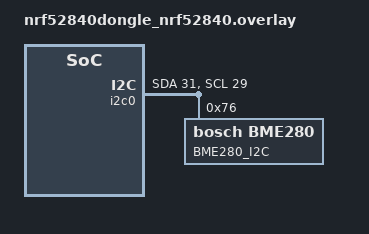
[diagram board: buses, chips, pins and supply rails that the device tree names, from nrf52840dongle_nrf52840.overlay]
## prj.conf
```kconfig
# Enable Bluetooth peripheral
CONFIG_BT=y
CONFIG_BT_PERIPHERAL=y

# Enable Bluetooth Security Manager Protocol
CONFIG_BT_SMP=y

# GAP attributes
CONFIG_BT_DEVICE_NAME="BME280 sensor"
CONFIG_BT_DEVICE_APPEARANCE=1344

# Use Settings API for BLE bonding
CONFIG_BT_SETTINGS=y
CONFIG_SETTINGS=y
CONFIG_SYSTEM_WORKQUEUE_STACK_SIZE=2048
CONFIG_FLASH=y
CONFIG_FLASH_PAGE_LAYOUT=y
CONFIG_FLASH_MAP=y
CONFIG_FCB=y

# Enable BME280 sensor
CONFIG_I2C=y
CONFIG_SENSOR=y
CONFIG_BME280=y
```

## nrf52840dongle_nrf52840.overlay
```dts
/*
 * Copyright (c) 2021 Koen Vervloesem <koen@vervloesem.eu>
 *
 * SPDX-License-Identifier: MIT
 */

/*
 * Configuration of a BME280 device on an I2C bus.
 *
 * Device address 0x76 is assumed. Your device may have a different
 * address; check your device documentation if unsure.
 */
&i2c0 {
    status = "okay";
    sda-pin = <31>;
    scl-pin = <29>;
    bme280@76 {
        compatible = "bosch,bme280";
        reg = <0x76>;
        label = "BME280_I2C";
    };
};
```

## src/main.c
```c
/*
 * Indications for BME280 sensor data in a custom BLE service,
 * using Security Mode 1 Level 2.
 *
 * Copyright (c) 2021 Koen Vervloesem
 *
 * SPDX-License-Identifier: MIT
 */

#include <errno.h>
#include <stddef.h>
#include <string.h>
#include <zephyr/sys/byteorder.h>
#include <zephyr/sys/printk.h>
#include <zephyr/kernel.h>
#include <zephyr/types.h>

#include <zephyr/settings/settings.h>

#include <zephyr/bluetooth/bluetooth.h>
#include <zephyr/bluetooth/conn.h>
#include <zephyr/bluetooth/gatt.h>
#include <zephyr/bluetooth/hci.h>
#include <zephyr/bluetooth/uuid.h>

#include "bme280.h"

// Define BLE service 63bf0b19-2b9c-473c-9e0a-2cfcaf03a770
#define BT_UUID_CUSTOM_SERVICE_VAL                                   \
  BT_UUID_128_ENCODE(0x63bf0b19, 0x2b9c, 0x473c, 0x9e0a,             \
                     0x2cfcaf03a770)

static struct bt_uuid_128 service_uuid =
    BT_UUID_INIT_128(BT_UUID_CUSTOM_SERVICE_VAL);

// Define BLE characteristic 63bf0b19-2b9c-473c-9e0a-2cfcaf03a771
static struct bt_uuid_128 char_uuid =
    BT_UUID_INIT_128(BT_UUID_128_ENCODE(0x63bf0b19, 0x2b9c, 0x473c,
                                        0x9e0a, 0x2cfcaf03a771));

// Initialize characteristic value (temperature, pressure, humidity)
static uint8_t char_value[6] = {0, 0, 0, 0, 0, 0};

const struct device *bme280 = NULL;

// Update data with BME280 sensor measurement
// Returns 1 if at least one sensor measurement changed compared to
// the previously stored value.
uint8_t update_data_bme280(const struct device *dev) {
  int16_t temperature;
  uint16_t pressure, humidity;
  uint8_t changed = 0;

  bme280_fetch_sample(dev);

  temperature = bme280_get_temperature(dev);
  if (memcmp(&(char_value[0]), &temperature, 2)) {
    memcpy(&(char_value[0]), &temperature, 2);
    changed = 1;
  }

  pressure = bme280_get_pressure(dev);
  if (memcmp(&(char_value[2]), &pressure, 2)) {
    memcpy(&(char_value[2]), &pressure, 2);
    changed = 1;
  }

  humidity = bme280_get_humidity(dev);
  if (memcmp(&(char_value[4]), &humidity, 2)) {
    memcpy(&(char_value[4]), &humidity, 2);
    changed = 1;
  }

  return changed;
}

// Callback function for reading characteristic
static ssize_t read_characteristic(struct bt_conn *conn,
                                   const struct bt_gatt_attr *attr,
                                   void *buf, uint16_t len,
                                   uint16_t offset) {
  update_data_bme280(bme280);
  const char *value = attr->user_data;

  return bt_gatt_attr_read(conn, attr, buf, len, offset, value,
                           sizeof(char_value));
}

static uint8_t indicate;
static uint8_t indicating;
static struct bt_gatt_indicate_params ind_params;

static void ccc_cfg_changed(const struct bt_gatt_attr *attr,
                            uint16_t value) {
  indicate = (value == BT_GATT_CCC_INDICATE) ? 1 : 0;
}

// Primary Service Declaration
BT_GATT_SERVICE_DEFINE(
    service, BT_GATT_PRIMARY_SERVICE(&service_uuid),
    BT_GATT_CHARACTERISTIC(&char_uuid.uuid,
                           BT_GATT_CHRC_READ | BT_GATT_CHRC_INDICATE,
                           BT_GATT_PERM_READ_ENCRYPT,
                           read_characteristic, NULL, char_value),
    BT_GATT_CCC(ccc_cfg_changed, BT_GATT_PERM_READ_ENCRYPT |
                                     BT_GATT_PERM_WRITE_ENCRYPT), );

// Advertising data
static const struct bt_data ad[] = {
    BT_DATA_BYTES(BT_DATA_FLAGS,
                  (BT_LE_AD_GENERAL | BT_LE_AD_NO_BREDR)),
    BT_DATA_BYTES(BT_DATA_UUID128_ALL, BT_UUID_CUSTOM_SERVICE_VAL),
};

// Indicate callbacks
static void indicate_cb(struct bt_conn *conn,
                        struct bt_gatt_indicate_params *params,
                        uint8_t err) {
  printk("Indication %s\n", err != 0U ? "fail" : "success");
}

static void indicate_destroy(struct bt_gatt_indicate_params *params) {
  printk("Indication complete\n");
  indicating = 0U;
}

// GATT callbacks
void mtu_updated(struct bt_conn *conn, uint16_t tx, uint16_t rx) {
  printk("Updated MTU: TX: %d RX: %d bytes\n", tx, rx);
}

static struct bt_gatt_cb gatt_callbacks = {.att_mtu_updated =
                                               mtu_updated};

// Connection callbacks
static void connected(struct bt_conn *conn, uint8_t err) {
  char addr[BT_ADDR_LE_STR_LEN];

  bt_addr_le_to_str(bt_conn_get_dst(conn), addr, sizeof(addr));

  if (err) {
    printk("Failed to connect to %s (%u)\n", addr, err);
    return;
  }

  printk("Connected %s\n", addr);

  if (bt_conn_set_security(conn, BT_SECURITY_L2)) {
    printk("Failed to set security\n");
  }
}

static void disconnected(struct bt_conn *conn, uint8_t reason) {
  char addr[BT_ADDR_LE_STR_LEN];

  bt_addr_le_to_str(bt_conn_get_dst(conn), addr, sizeof(addr));

  printk("Disconnected from %s (reason 0x%02x)\n", addr, reason);
}

static void security_changed(struct bt_conn *conn,
                             bt_security_t level,
                             enum bt_security_err err) {
  char addr[BT_ADDR_LE_STR_LEN];

  bt_addr_le_to_str(bt_conn_get_dst(conn), addr, sizeof(addr));

  if (!err) {
    printk("Security changed: %s level %u\n", addr, level);
  } else {
    printk("Security failed: %s level %u err %d\n", addr, level, err);
  }
}

static struct bt_conn_cb conn_callbacks = {
    .connected = connected,
    .disconnected = disconnected,
    .security_changed = security_changed,
};

// Bluetooth initialization
static void bt_ready(void) {
  int err;

  printk("Bluetooth initialized\n");

  if (IS_ENABLED(CONFIG_SETTINGS)) {
    settings_load();
  }

  err = bt_le_adv_start(BT_LE_ADV_CONN_NAME, ad, ARRAY_SIZE(ad), NULL,
                        0);
  if (err) {
    printk("Advertising failed to start (err %d)\n", err);
    return;
  }

  printk("Advertising successfully started\n");
}

void main(void) {
  int err;

  printk("Starting firmware...\n");

  // Initialize BME280
  bme280 = bme280_get_device();

  if (bme280 == NULL) {
    return;
  }

  // Initialize the Bluetooth subsystem
  err = bt_enable(NULL);
  if (err) {
    printk("Bluetooth init failed (err %d)\n", err);
    return;
  }

  bt_ready();

  // Clear all bonds for debugging purposes
  // bt_unpair(BT_ID_DEFAULT, BT_ADDR_LE_ANY);

  // Register GATT and connection callbacks
  bt_gatt_cb_register(&gatt_callbacks);
  bt_conn_cb_register(&conn_callbacks);

  // Implement indications every second
  while (1) {
    k_sleep(K_SECONDS(1));

    if (indicate) {
      if (indicating) {
        continue;
      }

      if (update_data_bme280(bme280)) {
        ind_params.attr = &service.attrs[2];
        ind_params.func = indicate_cb;
        ind_params.destroy = indicate_destroy;
        ind_params.data = char_value;
        ind_params.len = sizeof(char_value);

        if (bt_gatt_indicate(NULL, &ind_params) == 0) {
          indicating = 1U;
        }
      }
    }
  }
}
```

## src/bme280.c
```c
/*
 * Read BME280 sensor data
 *
 * Copyright (c) 2021 Koen Vervloesem
 *
 * SPDX-License-Identifier: MIT
 */

#include <device.h>
#include <devicetree.h>
#include <drivers/sensor.h>
#include <sys/printk.h>
#include <zephyr/types.h>

/*
 * Get a device structure from a devicetree node with compatible
 * "bosch,bme280". (If there are multiple, just pick one.)
 */
const struct device *bme280_get_device(void) {
  const struct device *dev = DEVICE_DT_GET_ANY(bosch_bme280);

  if (dev == NULL) {
    /* No such node, or the node does not have status "okay". */
    printk("\nError: no device found.\n");
    return NULL;
  }

  if (!device_is_ready(dev)) {
    printk("\nError: Device \"%s\" is not ready; "
           "check the driver initialization logs for errors.\n",
           dev->name);
    return NULL;
  }

  printk("Found device \"%s\", getting sensor data\n", dev->name);
  return dev;
}

void bme280_fetch_sample(const struct device *dev) {
  sensor_sample_fetch(dev);
}

int16_t bme280_get_temperature(const struct device *dev) {
  struct sensor_value temperature;

  sensor_channel_get(dev, SENSOR_CHAN_AMBIENT_TEMP, &temperature);
  return (int16_t)(temperature.val1 * 100 + temperature.val2 / 10000);
}

uint16_t bme280_get_pressure(const struct device *dev) {
  struct sensor_value pressure;
  uint32_t p; // Pressure without offset

  sensor_channel_get(dev, SENSOR_CHAN_PRESS, &pressure);
  p = (uint32_t)(pressure.val1 * 1000 + pressure.val2 / 10000);
  return (uint16_t)(p - 50000);
}

uint16_t bme280_get_humidity(const struct device *dev) {
  struct sensor_value humidity;

  sensor_channel_get(dev, SENSOR_CHAN_HUMIDITY, &humidity);
  return (uint16_t)(humidity.val1 * 100 + humidity.val2 / 10000);
}
```
